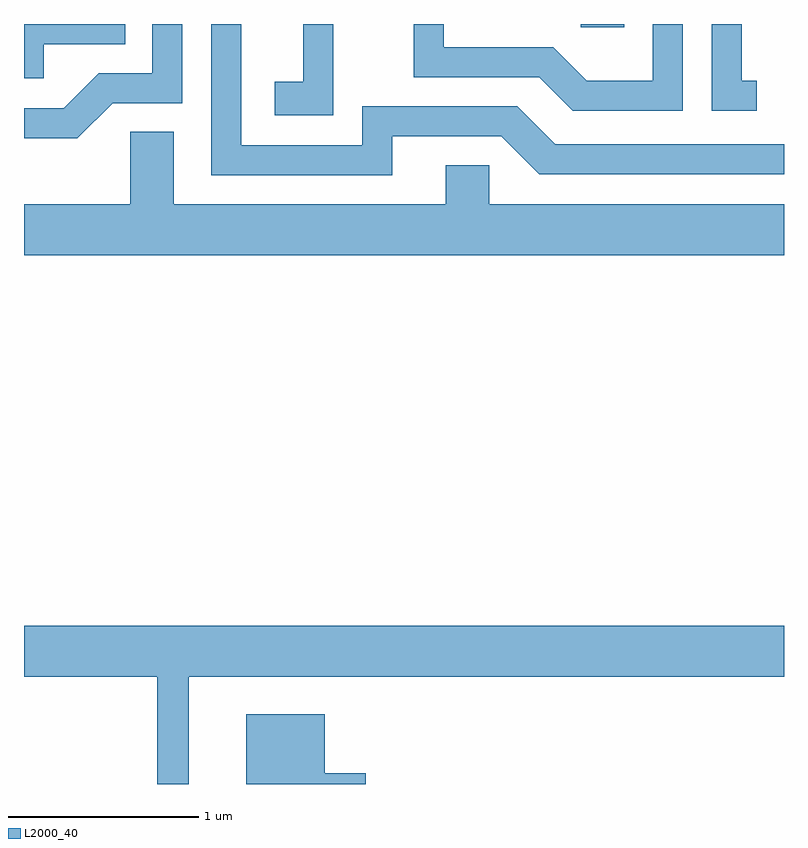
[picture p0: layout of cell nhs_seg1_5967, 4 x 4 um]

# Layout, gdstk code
import gdstk
lib = gdstk.Library(unit=1e-6, precision=1e-09)
def R(c, l, rs):  # rectangles x0, y0, x1, y1
    for r in rs: c.add(gdstk.rectangle(r[:2], r[2:], *l))
def P(c, l, *ps):  # polygons
    for p in ps: c.add(gdstk.Polygon(p, *l))
L2000_40 = (2000, 40)

nhs_seg1_5967 = lib.new_cell('nhs_seg1_5967')
R(nhs_seg1_5967, L2000_40, [(368.541,869.696,368.769,869.712)])
P(nhs_seg1_5967, L2000_40, [(369.468,869.414),(369.389,869.414),(369.389,869.712),(369.231,869.712),(369.231,869.256),(369.468,869.256)],
  [(365.714,869.606),(366.143,869.606),(366.143,869.712),(365.611,869.712),(365.611,869.426),(365.714,869.426)],
  [(367.549,869.121),(368.124,869.121),(368.324,868.921),(369.611,868.921),(369.611,869.079),(368.407,869.079),(368.207,869.279),(367.391,869.279),(367.391,869.074),(366.754,869.074),(366.754,869.712),(366.596,869.712),(366.596,868.916),(367.549,868.916)],
  [(369.079,869.712),(368.921,869.712),(368.921,869.414),(368.572,869.414),(368.397,869.589),(367.819,869.589),(367.819,869.712),(367.661,869.712),(367.661,869.431),(368.324,869.431),(368.499,869.256),(369.079,869.256)],
  [(367.239,869.712),(367.081,869.712),(367.081,869.409),(366.931,869.409),(366.931,869.231),(367.239,869.231)],
  [(366.077,869.296),(366.444,869.296),(366.444,869.712),(366.286,869.712),(366.286,869.454),(366.004,869.454),(365.819,869.269),(365.611,869.269),(365.611,869.111),(365.892,869.111)],
  [(369.611,868.764),(368.059,868.764),(368.059,868.969),(367.831,868.969),(367.831,868.764),(366.399,868.764),(366.399,869.144),(366.171,869.144),(366.171,868.764),(365.611,868.764),(365.611,868.496),(369.611,868.496)],
  [(366.479,866.276),(369.611,866.276),(369.611,866.544),(365.611,866.544),(365.611,866.276),(366.311,866.276),(366.311,865.712),(366.479,865.712)],
  [(367.409,865.769),(367.194,865.769),(367.194,866.079),(366.781,866.079),(366.781,865.712),(367.409,865.712)])

lib.write_gds('nhs_seg1_5967.gds')
